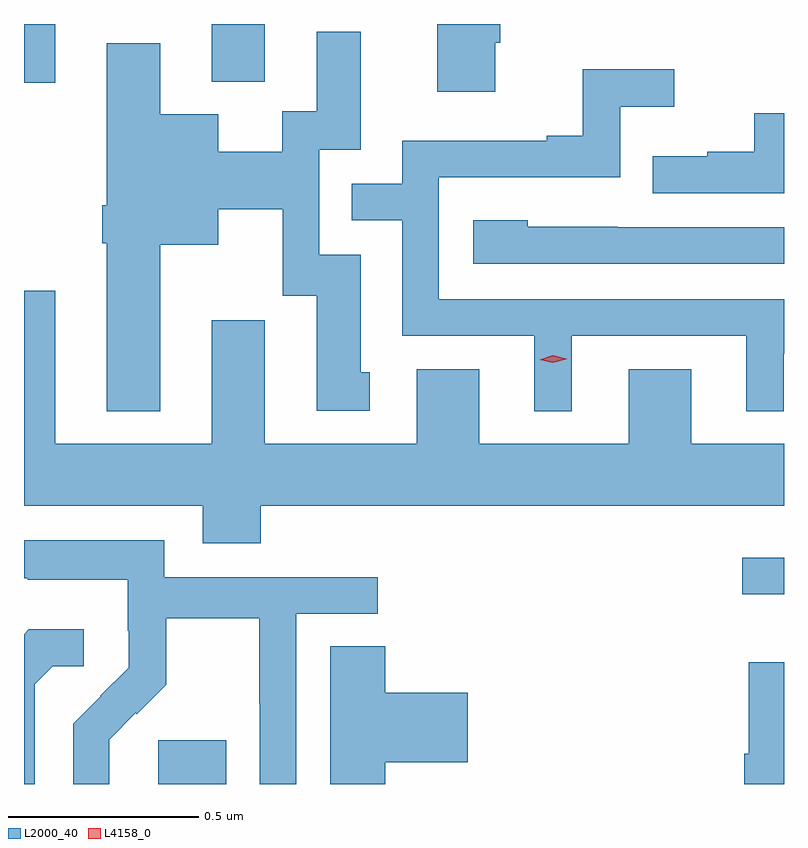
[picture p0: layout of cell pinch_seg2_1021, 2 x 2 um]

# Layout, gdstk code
import gdstk
lib = gdstk.Library(unit=1e-6, precision=1e-09)
def R(c, l, rs):  # rectangles x0, y0, x1, y1
    for r in rs: c.add(gdstk.rectangle(r[:2], r[2:], *l))
def P(c, l, *ps):  # polygons
    for p in ps: c.add(gdstk.Polygon(p, *l))
L2000_40 = (2000, 40)
L4158_0 = (4158, 0)

pinch_seg2_1021 = lib.new_cell('pinch_seg2_1021')
R(pinch_seg2_1021, L2000_40, [(204.86,654.896,205.039,655.011), (206.397,655.395,206.507,655.492), (204.507,656.742,204.589,656.896), (205.001,656.744,205.141,656.896)])
P(pinch_seg2_1021, L2000_40, [(205.747,656.847),(205.76,656.847),(205.76,656.896),(205.595,656.896),(205.595,656.718),(205.747,656.718)],
  [(204.865,656.315),(205.018,656.315),(205.018,656.408),(205.188,656.408),(205.188,656.181),(205.277,656.181),(205.277,655.878),(205.417,655.878),(205.417,655.98),(205.393,655.98),(205.393,656.289),(205.284,656.289),(205.284,656.565),(205.393,656.565),(205.393,656.875),(205.277,656.875),(205.277,656.666),(205.187,656.666),(205.187,656.56),(205.018,656.56),(205.018,656.659),(204.865,656.659),(204.865,656.845),(204.725,656.845),(204.725,656.419),(204.713,656.419),(204.713,656.319),(204.725,656.319),(204.725,655.877),(204.865,655.877)],
  [(205.948,656.076),(206.408,656.076),(206.408,655.877),(206.506,655.877),(206.506,656.028),(206.507,656.028),(206.507,656.172),(205.599,656.172),(205.599,656.493),(206.076,656.493),(206.076,656.678),(206.218,656.678),(206.218,656.777),(205.978,656.777),(205.978,656.602),(205.883,656.602),(205.883,656.589),(205.503,656.589),(205.503,656.475),(205.369,656.475),(205.369,656.379),(205.503,656.379),(205.503,656.076),(205.85,656.076),(205.85,655.877),(205.948,655.877)],
  [(206.507,656.661),(206.429,656.661),(206.429,656.56),(206.305,656.56),(206.305,656.548),(206.161,656.548),(206.161,656.451),(206.507,656.451)],
  [(206.507,656.361),(206.069,656.361),(206.069,656.362),(205.833,656.362),(205.833,656.38),(205.689,656.38),(205.689,656.265),(206.507,656.265)],
  [(205.13,655.628),(206.507,655.628),(206.507,655.792),(206.263,655.792),(206.263,655.987),(206.099,655.987),(206.099,655.792),(205.705,655.792),(205.705,655.987),(205.541,655.987),(205.541,655.792),(205.141,655.792),(205.141,656.116),(205.001,656.116),(205.001,655.792),(204.589,655.792),(204.589,656.194),(204.507,656.194),(204.507,655.628),(204.977,655.628),(204.977,655.529),(205.13,655.529)],
  [(204.731,655.013),(204.801,655.083),(204.804,655.08),(204.881,655.157),(204.881,655.332),(205.126,655.332),(205.126,655.108),(205.128,655.108),(205.128,654.896),(205.224,654.896),(205.224,655.344),(205.438,655.344),(205.438,655.44),(204.876,655.44),(204.876,655.537),(204.507,655.537),(204.507,655.437),(204.517,655.437),(204.517,655.433),(204.78,655.433),(204.78,655.299),(204.782,655.299),(204.782,655.202),(204.708,655.128),(204.709,655.127),(204.636,655.054),(204.636,654.896),(204.731,654.896)],
  [(204.535,655.159),(204.582,655.206),(204.664,655.206),(204.664,655.303),(204.52,655.303),(204.507,655.29),(204.507,654.896),(204.535,654.896)],
  [(205.457,654.953),(205.675,654.953),(205.675,655.136),(205.457,655.136),(205.457,655.259),(205.313,655.259),(205.313,654.896),(205.457,654.896)],
  [(206.507,655.216),(206.414,655.216),(206.414,654.976),(206.402,654.976),(206.402,654.896),(206.507,654.896)])
P(pinch_seg2_1021, L4158_0, [(205.899,656.004),(205.864,656.013),(205.864,656.013),(205.864,656.013),(205.899,656.024),(205.934,656.015),(205.935,656.015),(205.934,656.014)])

lib.write_gds('pinch_seg2_1021.gds')
